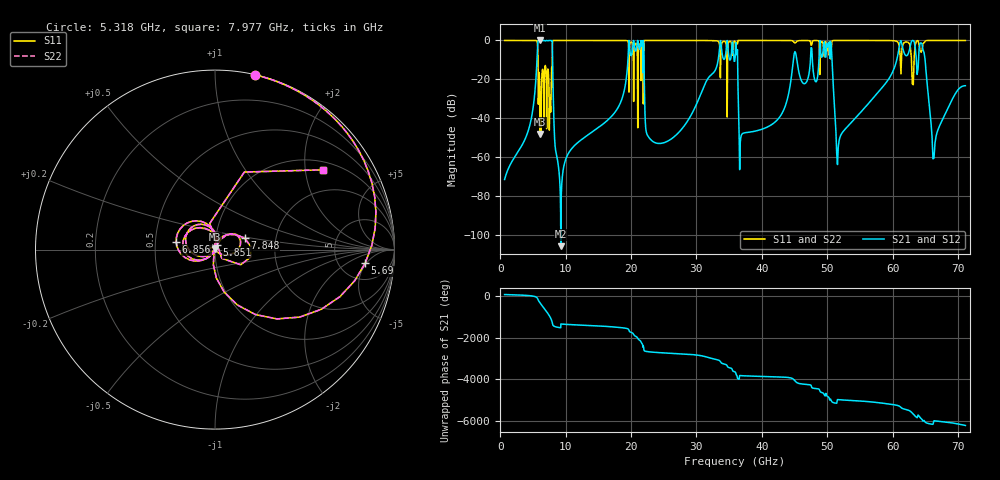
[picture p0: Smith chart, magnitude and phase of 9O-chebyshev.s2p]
! markimicrowave.com
! Date: Thu Jul 30 2026 10:02:13 GMT+0800 (中国标准时间)
# Hz S DB R 50.00
!Frequency  S11 dB  S11 Deg  S21 dB  S21 Deg  S12 dB  S12 Deg  S22 dB  S22 Deg
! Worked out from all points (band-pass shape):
!   2000 points, 675 MHz to 71.11 GHz, reference 50 ohm
!   highest |S21| = 0.00 dB at 6.116 GHz (marker M1); lowest = -105.7 dB at 9.26 GHz (marker M2)
!   |S21| within 3 dB of the highest: 5.725 GHz to 7.973 GHz (2.248 GHz wide, 32.8 % of centre); 62.67 GHz to 63.4 GHz (728.2 MHz wide, 1.16 % of centre)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
!   lowest |S11| = -48.0 dB at 6.116 GHz (marker M3), VSWR 1.01, Z = 49.8 + j0.344 ohm
!   |S11| at or under -10 dB: 5.786 GHz to 7.952 GHz (2.166 GHz wide, 31.5 % of centre); 19.66243 GHz to 19.73371 GHz (71.28 MHz wide, 0.362 % of centre); 62.86 GHz to 63.27 GHz (407 MHz wide, 0.645 % of centre)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
!   |S22| runs from -48.0 to 0.0 dB; largest |S21 - S12| = 0
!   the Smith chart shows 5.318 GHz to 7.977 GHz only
!   S11 on the Smith chart (normalised r, x): 5.318 GHz: 0.00, +1.25; 5.69 GHz: 9, -5; 5.851 GHz: 1.02, +0.05; 6.856 GHz: 0.64, +0.06; 7.848 GHz: 1.38, +0.18; 7.977 GHz: 1.24, +2.48
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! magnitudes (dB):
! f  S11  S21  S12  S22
! 675 MHz  0.0  -71.4  -71.4  0.0
! 5.318 GHz  0.0  -25.9  -25.9  0.0
! 5.69 GHz  -1.5  -5.3  -5.3  -1.5
! 5.851 GHz  -30.8  0.0  0.0  -30.8
! 6.116 GHz  -48.0  0.0  0.0  -48.0
! 6.856 GHz  -13.1  -0.2  -0.2  -13.1
! 7.848 GHz  -15.0  -0.1  -0.1  -15.0
! 7.977 GHz  -2.5  -3.5  -3.5  -2.5
! 9.26 GHz  0.0  -105.7  -105.7  0.0
! 12.42 GHz  0.0  -51.0  -51.0  0.0
! 21.27 GHz  -1.9  -4.5  -4.5  -1.9
! 22.65 GHz  0.0  -49.5  -49.5  0.0
! 24.18 GHz  0.0  -52.9  -52.9  0.0
! 35.93 GHz  -0.7  -8.1  -8.1  -0.7
! 37.38 GHz  0.0  -47.5  -47.5  0.0
! 47.63 GHz  -2.2  -4.0  -4.0  -2.2
! 49.79 GHz  -0.6  -8.6  -8.6  -0.6
! 52.53 GHz  0.0  -46.3  -46.3  0.0
! 59.43 GHz  0.0  -19.6  -19.6  0.0
! 63.59 GHz  -0.7  -8.5  -8.5  -0.7
! 67.09 GHz  0.0  -44.5  -44.5  0.0
! 71.11 GHz  0.0  -23.2  -23.2  0.0
